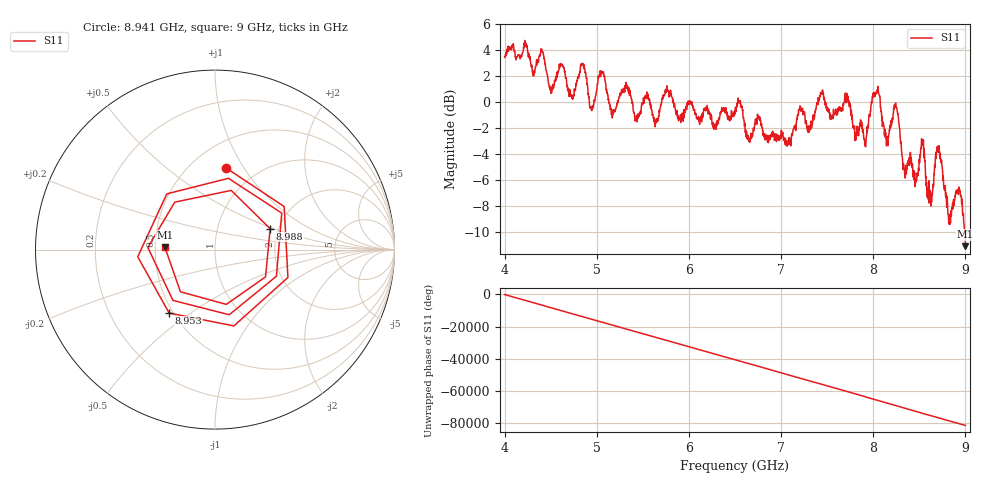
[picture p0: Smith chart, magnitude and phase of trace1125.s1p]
! Created with skrf 1.8.0 (http://scikit-rf.org).
# Hz S RI R 50.0
!freq ReS11 ImS11
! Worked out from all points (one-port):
!   1601 points, 4 GHz to 9 GHz, reference 50 ohm
!   lowest |S11| = -11.1 dB at 9 GHz (marker M1), VSWR 1.78, Z = 28.1 + j0.826 ohm
!   |S11| at or under -10 dB: 8.992352 GHz to end of sweep
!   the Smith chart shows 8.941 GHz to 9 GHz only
!   S11 on the Smith chart (normalised r, x): 8.941 GHz: 0.73, +0.84; 8.953 GHz: 0.48, -0.42; 8.988 GHz: 1.81, +0.47; 9 GHz: 0.56, +0.02
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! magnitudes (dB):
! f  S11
! 4 GHz  3.5
! 4.406 GHz  3.9
! 4.506 GHz  0.8
! 4.625 GHz  2.9
! 4.725 GHz  0.6
! 4.85 GHz  2.9
! 4.944 GHz  -0.6
! 5.05 GHz  2.2
! 5.166 GHz  -0.8
! 5.25 GHz  0.5
! 5.875 GHz  -1.0
! 6.5 GHz  -0.8
! 7.125 GHz  -2.4
! 7.434 GHz  0.8
! 7.75 GHz  -0.4
! 7.909 GHz  -3.3
! 8.028 GHz  0.7
! 8.147 GHz  -2.7
! 8.247 GHz  -0.4
! 8.375 GHz  -4.9
! 8.538 GHz  -3.0
! 8.616 GHz  -6.9
! 8.703 GHz  -3.6
! 8.822 GHz  -8.7
! 8.941 GHz  -6.8
! 8.953 GHz  -7.2
! 8.988 GHz  -9.7
! 9 GHz  -11.1
